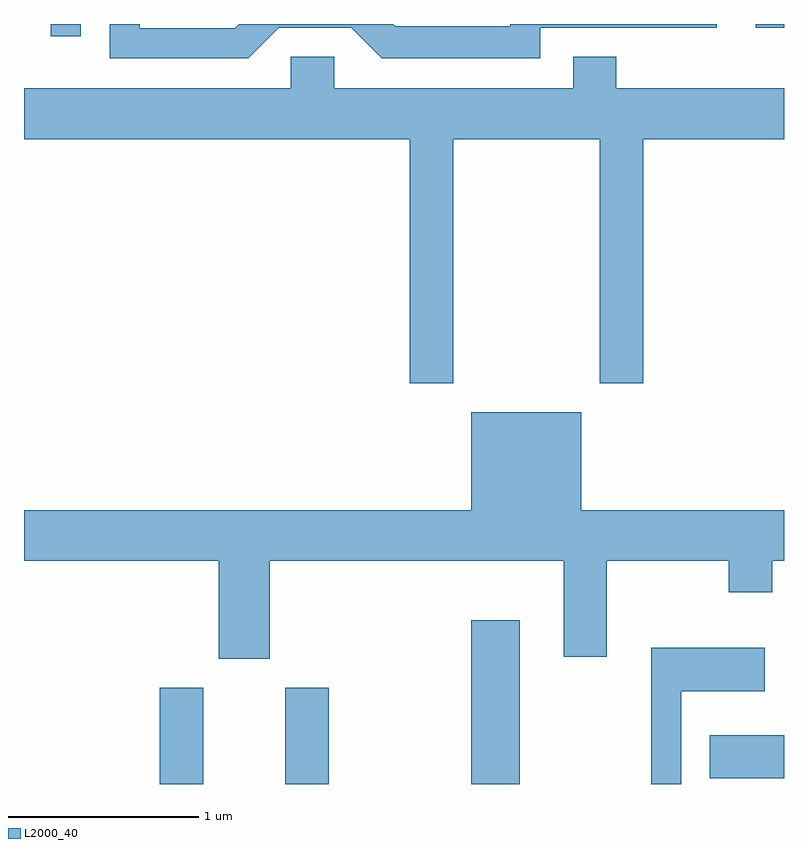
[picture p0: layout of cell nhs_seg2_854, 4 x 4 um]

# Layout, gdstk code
import gdstk
lib = gdstk.Library(unit=1e-6, precision=1e-09)
def R(c, l, rs):  # rectangles x0, y0, x1, y1
    for r in rs: c.add(gdstk.rectangle(r[:2], r[2:], *l))
def P(c, l, *ps):  # polygons
    for p in ps: c.add(gdstk.Polygon(p, *l))
L2000_40 = (2000, 40)

nhs_seg2_854 = lib.new_cell('nhs_seg2_854')
R(nhs_seg2_854, L2000_40, [(210.326,1053.802,210.554,1054.309), (210.986,1053.802,211.214,1054.309), (211.966,1053.802,212.219,1054.664), (213.221,1053.831,213.611,1054.059), (209.751,1057.738,209.909,1057.802), (213.463,1057.781,213.611,1057.802)])
P(nhs_seg2_854, L2000_40, [(210.952,1057.781),(211.334,1057.781),(211.494,1057.621),(212.329,1057.621),(212.329,1057.781),(213.258,1057.781),(213.258,1057.802),(212.171,1057.802),(212.171,1057.789),(211.567,1057.789),(211.554,1057.802),(210.742,1057.802),(210.719,1057.779),(210.219,1057.779),(210.219,1057.802),(210.061,1057.802),(210.061,1057.621),(210.792,1057.621)],
  [(211.869,1057.196),(212.641,1057.196),(212.641,1055.911),(212.869,1055.911),(212.869,1057.196),(213.611,1057.196),(213.611,1057.464),(212.729,1057.464),(212.729,1057.629),(212.501,1057.629),(212.501,1057.464),(211.244,1057.464),(211.244,1057.629),(211.016,1057.629),(211.016,1057.464),(209.611,1057.464),(209.611,1057.196),(211.641,1057.196),(211.641,1055.911),(211.869,1055.911)],
  [(210.904,1054.976),(212.451,1054.976),(212.451,1054.471),(212.679,1054.471),(212.679,1054.976),(213.321,1054.976),(213.321,1054.811),(213.549,1054.811),(213.549,1054.976),(213.611,1054.976),(213.611,1055.244),(212.544,1055.244),(212.544,1055.759),(211.966,1055.759),(211.966,1055.244),(209.611,1055.244),(209.611,1054.976),(210.636,1054.976),(210.636,1054.461),(210.904,1054.461)],
  [(213.069,1054.291),(213.509,1054.291),(213.509,1054.519),(212.911,1054.519),(212.911,1053.802),(213.069,1053.802)])

lib.write_gds('nhs_seg2_854.gds')
